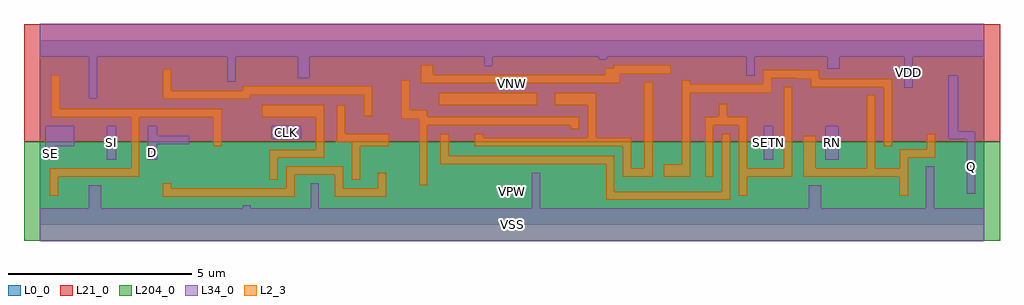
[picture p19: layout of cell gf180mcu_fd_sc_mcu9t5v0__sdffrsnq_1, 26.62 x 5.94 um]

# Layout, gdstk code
import gdstk
lib = gdstk.Library(unit=1e-6, precision=1e-09)
def R(c, l, rs):  # rectangles x0, y0, x1, y1
    for r in rs: c.add(gdstk.rectangle(r[:2], r[2:], *l))
L0_0 = (0, 0)
L2_3 = (2, 3)
L21_0 = (21, 0)
L34_0 = (34, 0)
L204_0 = (204, 0)

gf180mcu_fd_sc_mcu9t5v0_ = lib.new_cell('gf180mcu_fd_sc_mcu9t5v0__sdffrsnq_1')
R(gf180mcu_fd_sc_mcu9t5v0_, L0_0, [(0,0,25.76,5.04)])
R(gf180mcu_fd_sc_mcu9t5v0_, L2_3, [(15.445,0.68,18.835,0.91), (3.35,0.765,6.955,0.995), (8.045,0.765,9.455,0.995), (0.27,0.795,0.5,1.31), (19.065,0.795,19.295,1.31), (23.445,0.795,23.69,1.31), (15.445,0.91,15.675,1.655), (18.605,0.91,18.835,2.485), (3.35,0.995,3.58,1.135), (6.725,0.995,6.955,1.365), (8.045,0.995,8.275,1.365), (9.225,0.995,9.455,1.425), (10.345,1.085,10.575,2.715), (6.265,1.225,6.495,1.825), (8.505,1.225,8.735,2.145), (0.27,1.31,2.72,1.54), (19.065,1.31,20.525,1.54), (20.82,1.31,23.69,1.54), (15.905,1.315,16.715,1.545), (17.025,1.315,17.735,1.655), (18.145,1.315,18.375,2.715), (6.725,1.365,8.275,1.595), (2.49,1.54,2.72,2.94), (19.065,1.54,19.295,2.715), (20.295,1.54,20.525,3.77), (20.82,1.54,21.16,2.43), (22.555,1.54,22.785,3.53), (23.46,1.54,23.69,1.83), (15.905,1.545,16.135,2.145), (16.485,1.545,16.715,3.895), (10.925,1.655,15.675,1.885), (17.505,1.655,17.735,3.61), (6.265,1.825,7.755,2.055), (23.46,1.83,24.425,2.06), (10.925,1.885,11.155,2.485), (7.525,2.055,7.755,2.94), (24.195,2.06,24.425,2.485), (4.73,2.145,4.96,2.94), (8.505,2.145,9.515,2.255), (11.865,2.145,16.135,2.375), (23.015,2.145,23.245,3.76), (8.105,2.255,9.515,2.485), (11.865,2.375,12.095,2.485), (14.945,2.375,15.175,3.265), (8.105,2.485,8.335,3.27), (14.485,2.605,14.715,2.715), (10.345,2.715,14.715,2.895), (18.145,2.715,19.295,2.945), (9.865,2.895,14.715,2.945), (0.32,2.94,4.96,3.17), (6.065,2.94,7.755,3.28), (9.865,2.945,10.57,3.125), (18.525,2.945,18.755,3.31), (8.845,2.965,9.075,3.545), (9.865,3.125,10.095,3.945), (0.32,3.17,0.55,4.075), (10.885,3.265,13.555,3.605), (14.045,3.265,15.175,3.605), (3.35,3.435,5.73,3.545), (3.35,3.545,9.075,3.665), (17.505,3.61,19.965,3.84), (3.35,3.665,3.58,4.245), (5.53,3.665,9.075,3.775), (21.025,3.76,23.245,3.985), (17.505,3.84,17.735,3.95), (19.735,3.84,19.965,4), (10.39,3.87,15.825,4.1), (20.61,3.985,23.245,3.99), (20.61,3.99,21.255,4), (19.735,4,21.255,4.215), (10.39,4.1,10.73,4.35), (15.42,4.1,15.825,4.125), (15.42,4.125,17.21,4.275), (19.735,4.215,20.695,4.23), (15.65,4.275,17.21,4.355)])
R(gf180mcu_fd_sc_mcu9t5v0_, L21_0, [(-0.43,2.265,26.19,5.47)])
R(gf180mcu_fd_sc_mcu9t5v0_, L34_0, [(0,-0.45,25.76,0.45), (1.335,0.45,1.675,1.08), (5.53,0.45,5.76,0.535), (7.385,0.45,7.615,1.135), (13.425,0.45,13.655,1.425), (20.97,0.45,21.31,1.08), (24.165,0.45,24.395,1.6), (25.285,0.845,25.515,2.33), (0.15,1.77,0.41,2.145), (1.83,1.77,2.09,2.71), (2.95,1.77,3.21,2.2), (19.745,1.77,20.01,2.71), (21.43,1.77,21.795,2.71), (0.15,2.145,0.94,2.71), (2.95,2.2,4.075,2.43), (6.31,2.33,7.13,2.71), (24.775,2.33,25.515,2.56), (2.95,2.43,3.21,2.71), (24.775,2.56,25.05,4.075), (1.34,3.435,1.57,4.59), (23.575,3.74,23.805,4.59), (5.11,3.905,5.34,4.59), (7.03,4.005,7.37,4.59), (19.275,4.07,19.505,4.59), (21.48,4.265,21.82,4.59), (12.125,4.33,12.355,4.59), (15.245,4.505,15.475,4.59), (0,4.59,25.76,5.49)])
R(gf180mcu_fd_sc_mcu9t5v0_, L204_0, [(-0.43,-0.43,26.19,2.265)])
gf180mcu_fd_sc_mcu9t5v0_.add(gdstk.Label('D', (3.08,1.985), layer=34, texttype=10))
gf180mcu_fd_sc_mcu9t5v0_.add(gdstk.Label('RN', (21.612,2.24), layer=34, texttype=10))
gf180mcu_fd_sc_mcu9t5v0_.add(gdstk.Label('SE', (0.28,1.957), layer=34, texttype=10))
gf180mcu_fd_sc_mcu9t5v0_.add(gdstk.Label('SETN', (19.877,2.24), layer=34, texttype=10))
gf180mcu_fd_sc_mcu9t5v0_.add(gdstk.Label('SI', (1.96,2.24), layer=34, texttype=10))
gf180mcu_fd_sc_mcu9t5v0_.add(gdstk.Label('CLK', (6.72,2.52), layer=34, texttype=10))
gf180mcu_fd_sc_mcu9t5v0_.add(gdstk.Label('Q', (25.4,1.587), layer=34, texttype=10))
gf180mcu_fd_sc_mcu9t5v0_.add(gdstk.Label('VDD', (23.69,4.165), layer=34, texttype=10))
gf180mcu_fd_sc_mcu9t5v0_.add(gdstk.Label('VSS', (12.88,0), layer=34, texttype=10))
gf180mcu_fd_sc_mcu9t5v0_.add(gdstk.Label('VNW', (12.88,3.867), layer=3, texttype=1))
gf180mcu_fd_sc_mcu9t5v0_.add(gdstk.Label('VPW', (12.88,0.917), layer=4, texttype=1))

lib.write_gds('gf180mcu_fd_sc_mcu9t5v0__sdffrsnq_1.gds')
